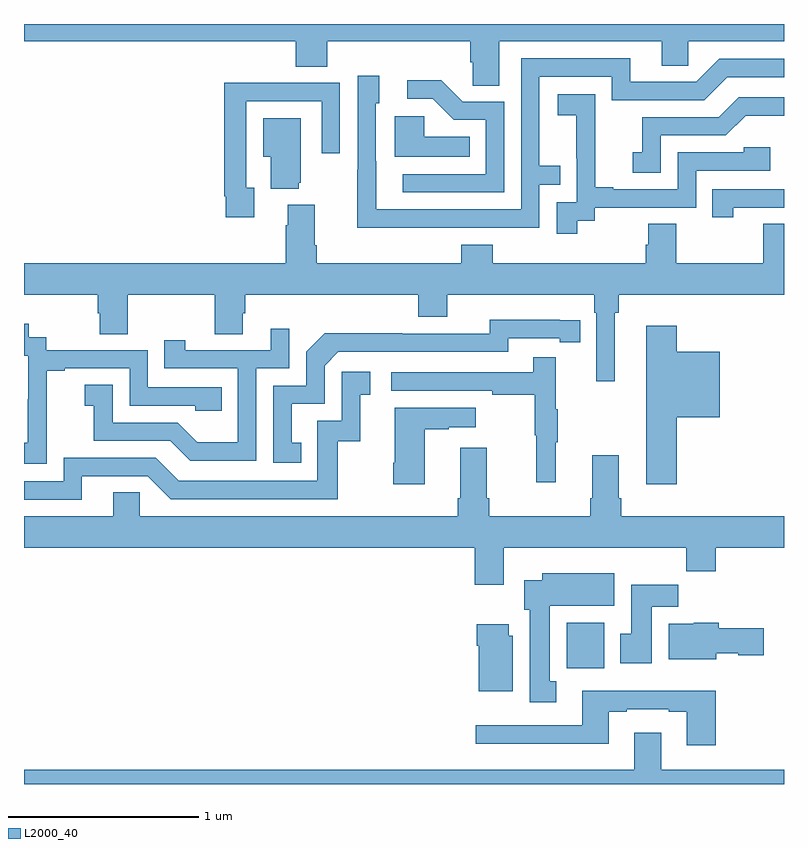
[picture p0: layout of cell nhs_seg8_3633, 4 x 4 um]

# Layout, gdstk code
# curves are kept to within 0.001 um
import gdstk
lib = gdstk.Library(unit=1e-6, precision=1e-09)
def R(c, l, rs):  # rectangles x0, y0, x1, y1
    for r in rs: c.add(gdstk.rectangle(r[:2], r[2:], *l))
def P(c, l, *ps):  # polygons
    for p in ps: c.add(gdstk.Polygon(p, *l))
L2000_40 = (2000, 40)

nhs_seg8_3633 = lib.new_cell('nhs_seg8_3633')
R(nhs_seg8_3633, L2000_40, [(337.856,1138.508,338.053,1138.75)])
P(nhs_seg8_3633, L2000_40, [(337.501,1141.808),(338.357,1141.808),(338.357,1141.681),(338.496,1141.681),(338.496,1141.808),(339,1141.808),(339,1141.9),(335,1141.9),(335,1141.808),(336.431,1141.808),(336.431,1141.675),(336.596,1141.675),(336.596,1141.808),(337.349,1141.808),(337.349,1141.699),(337.362,1141.699),(337.362,1141.576),(337.501,1141.576)],
  [(337.217,1140.828),(337.713,1140.828),(337.713,1141.053),(337.823,1141.053),(337.823,1141.154),(337.713,1141.154),(337.713,1141.623),(338.094,1141.623),(338.094,1141.5),(338.58,1141.5),(338.7,1141.62),(339,1141.62),(339,1141.716),(338.658,1141.716),(338.538,1141.596),(338.191,1141.596),(338.191,1141.719),(337.617,1141.719),(337.617,1140.924),(336.853,1140.924),(336.852,1141.482),(336.871,1141.482),(336.871,1141.627),(336.756,1141.627),(336.756,1141.133),(336.754,1141.133),(336.754,1140.827)],
  [(337.527,1141.491),(337.308,1141.491),(337.195,1141.604),(337.017,1141.604),(337.017,1141.506),(337.151,1141.506),(337.262,1141.395),(337.431,1141.395),(337.431,1141.11),(336.993,1141.11),(336.993,1141.014),(337.527,1141.014)],
  [(336.211,1141.038),(336.171,1141.038),(336.171,1141.494),(336.567,1141.494),(336.567,1141.221),(336.663,1141.221),(336.663,1141.59),(336.347,1141.59),(336.347,1141.592),(336.055,1141.592),(336.055,1140.994),(336.063,1140.994),(336.063,1140.882),(336.211,1140.882)],
  [(337.912,1140.865),(338.004,1140.865),(338.004,1140.933),(338.538,1140.933),(338.538,1141.128),(338.927,1141.128),(338.927,1141.251),(338.787,1141.251),(338.787,1141.224),(338.442,1141.224),(338.442,1141.029),(338.101,1141.029),(338.101,1141.042),(338.006,1141.042),(338.006,1141.325),(338.007,1141.325),(338.007,1141.531),(337.809,1141.531),(337.809,1141.421),(337.907,1141.421),(337.907,1141.193),(337.908,1141.193),(337.908,1140.963),(337.803,1140.963),(337.803,1140.795),(337.912,1140.795)],
  [(338.352,1141.314),(338.694,1141.314),(338.798,1141.418),(339,1141.418),(339,1141.515),(338.762,1141.515),(338.657,1141.41),(338.254,1141.41),(338.254,1141.225),(338.205,1141.225),(338.205,1141.116),(338.352,1141.116)],
  [(337.346,1141.306),(337.107,1141.306),(337.107,1141.414),(336.95,1141.414),(336.95,1141.202),(337.346,1141.202)],
  [(336.446,1141.065),(336.457,1141.065),(336.457,1141.405),(336.26,1141.405),(336.26,1141.202),(336.299,1141.202),(336.299,1141.034),(336.446,1141.034)],
  [(338.734,1140.933),(339,1140.933),(339,1141.029),(338.623,1141.029),(338.623,1140.882),(338.734,1140.882)],
  [(338.11,1140.38),(338.129,1140.38),(338.129,1140.476),(339,1140.476),(339,1140.848),(338.89,1140.848),(338.89,1140.64),(338.433,1140.64),(338.433,1140.848),(338.285,1140.848),(338.285,1140.738),(338.273,1140.738),(338.273,1140.64),(337.466,1140.64),(337.466,1140.739),(337.301,1140.739),(337.301,1140.64),(336.542,1140.64),(336.542,1140.736),(336.529,1140.736),(336.529,1140.949),(336.389,1140.949),(336.389,1140.842),(336.377,1140.842),(336.377,1140.64),(335,1140.64),(335,1140.476),(335.387,1140.476),(335.387,1140.378),(335.399,1140.378),(335.399,1140.268),(335.547,1140.268),(335.547,1140.476),(336.004,1140.476),(336.004,1140.268),(336.151,1140.268),(336.151,1140.378),(336.164,1140.378),(336.164,1140.476),(337.076,1140.476),(337.076,1140.359),(337.228,1140.359),(337.228,1140.476),(338,1140.476),(338,1140.38),(338.013,1140.38),(338.013,1140.021),(338.11,1140.021)],
  [(336.458,1139.697),(336.409,1139.697),(336.409,1139.901),(336.582,1139.901),(336.582,1140.102),(336.654,1140.174),(337.548,1140.174),(337.548,1140.246),(337.82,1140.246),(337.82,1140.226),(337.928,1140.226),(337.928,1140.342),(337.452,1140.343),(337.452,1140.27),(336.992,1140.27),(336.992,1140.272),(336.584,1140.272),(336.486,1140.174),(336.486,1139.997),(336.312,1139.997),(336.312,1139.592),(336.458,1139.592)],
  [(335.121,1139.791),(335.12,1139.791),(335.12,1140.075),(335.215,1140.075),(335.215,1140.087),(335.556,1140.087),(335.556,1139.892),(335.901,1139.892),(335.901,1139.865),(336.041,1139.865),(336.041,1139.988),(335.652,1139.988),(335.652,1140.183),(335.118,1140.183),(335.118,1140.252),(335.026,1140.252),(335.026,1140.322),(335,1140.322),(335,1140.153),(335.022,1140.153),(335.022,1139.924),(335.021,1139.924),(335.021,1139.695),(335,1139.695),(335,1139.585),(335.121,1139.585)],
  [(338.435,1139.831),(338.662,1139.831),(338.662,1140.175),(338.435,1140.175),(338.435,1140.313),(338.276,1140.313),(338.276,1139.478),(338.435,1139.478)],
  [(336.222,1140.087),(336.396,1140.087),(336.396,1140.295),(336.299,1140.295),(336.299,1140.183),(335.848,1140.183),(335.848,1140.235),(335.737,1140.235),(335.737,1140.087),(336.126,1140.087),(336.126,1139.698),(335.912,1139.698),(335.808,1139.802),(335.466,1139.802),(335.466,1140.001),(335.319,1140.001),(335.319,1139.891),(335.368,1139.891),(335.368,1139.706),(335.771,1139.706),(335.876,1139.601),(336.222,1139.601)],
  [(337.799,1139.699),(337.81,1139.699),(337.81,1139.873),(337.799,1139.873),(337.799,1140.145),(337.681,1140.145),(337.681,1140.066),(336.933,1140.066),(336.933,1139.97),(337.465,1139.97),(337.465,1139.95),(337.689,1139.95),(337.689,1139.736),(337.696,1139.736),(337.696,1139.487),(337.799,1139.487)],
  [(335.305,1139.52),(335.652,1139.52),(335.772,1139.4),(336.652,1139.4),(336.652,1139.703),(336.77,1139.703),(336.77,1139.949),(336.823,1139.949),(336.823,1140.07),(336.672,1140.07),(336.672,1139.811),(336.543,1139.811),(336.543,1139.496),(335.814,1139.496),(335.694,1139.616),(335.208,1139.616),(335.208,1139.493),(335,1139.493),(335,1139.397),(335.305,1139.397)],
  [(337.108,1139.767),(337.235,1139.767),(337.235,1139.777),(337.378,1139.777),(337.378,1139.881),(336.95,1139.881),(336.95,1139.59),(336.943,1139.59),(336.943,1139.478),(337.108,1139.478)],
  [(338.144,1139.404),(338.131,1139.404),(338.131,1139.629),(337.991,1139.629),(337.991,1139.404),(337.979,1139.404),(337.979,1139.308),(337.448,1139.308),(337.448,1139.404),(337.435,1139.404),(337.435,1139.671),(337.295,1139.671),(337.295,1139.404),(337.283,1139.404),(337.283,1139.308),(335.61,1139.308),(335.61,1139.435),(335.471,1139.435),(335.471,1139.308),(335,1139.308),(335,1139.144),(337.373,1139.144),(337.373,1138.95),(337.525,1138.95),(337.525,1139.144),(338.485,1139.144),(338.485,1139.02),(338.642,1139.02),(338.642,1139.144),(339,1139.144),(339,1139.308),(338.144,1139.308)],
  [(337.801,1138.442),(337.768,1138.442),(337.768,1138.838),(338.107,1138.838),(338.107,1139.008),(337.727,1139.008),(337.727,1138.972),(337.634,1138.972),(337.634,1138.818),(337.661,1138.818),(337.661,1138.329),(337.801,1138.329)],
  [(338.305,1138.832),(338.444,1138.832),(338.444,1138.95),(338.195,1138.95),(338.195,1138.692),(338.138,1138.692),(338.138,1138.536),(338.305,1138.536)],
  [(338.644,1138.589),(338.76,1138.589),(338.76,1138.577),(338.893,1138.577),(338.893,1138.719),(338.657,1138.719),(338.657,1138.75),(338.526,1138.75),(338.526,1138.744),(338.393,1138.744),(338.393,1138.556),(338.644,1138.556)],
  [(337.573,1138.68),(337.552,1138.68),(337.552,1138.741),(337.382,1138.741),(337.382,1138.628),(337.394,1138.628),(337.394,1138.388),(337.573,1138.388)],
  [(338.642,1138.39),(337.937,1138.39),(337.937,1138.209),(337.377,1138.209),(337.377,1138.112),(338.077,1138.112),(338.077,1138.281),(338.173,1138.281),(338.173,1138.293),(338.393,1138.293),(338.393,1138.281),(338.489,1138.281),(338.489,1138.104),(338.642,1138.104)],
  [(339,1137.976),(338.353,1137.976),(338.353,1138.171),(338.213,1138.171),(338.213,1137.976),(335,1137.976),(335,1137.9),(339,1137.9)])

lib.write_gds('nhs_seg8_3633.gds')
